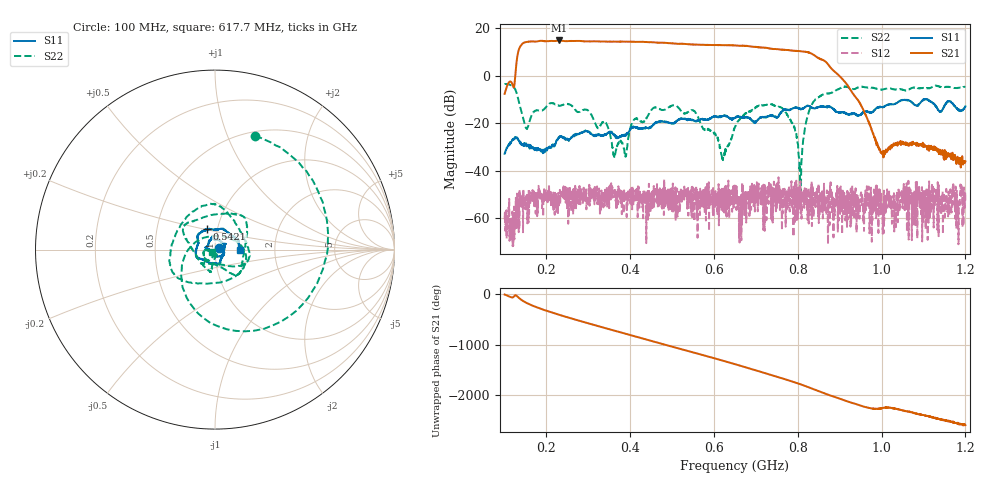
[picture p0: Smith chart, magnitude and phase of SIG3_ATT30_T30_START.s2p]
# Hz S DB R 50
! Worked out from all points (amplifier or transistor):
!   1601 points, 100 MHz to 1.2 GHz, reference 50 ohm
!   highest |S21| = 14.9 dB at 230.6 MHz (marker M1)
!   |S21| within 3 dB of that: 135.9 MHz to 716.1 MHz (580.2 MHz wide, 136 % of centre) (the widest 1 of 3)
!   unconditionally stable (mu >= 1): start of sweep to end of sweep
!   at 282.9 MHz: K = 24.56, MAG = 14.8 dB, |S12| = -48.8 dB
!   at 650 MHz: K = 32.79, MAG = 12.9 dB, |S12| = -49.3 dB
!   at 1.2 GHz: K = 8254.52, MAG = -33.9 dB, |S12| = -52.6 dB
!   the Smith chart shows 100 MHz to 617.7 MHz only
!   S11 on the Smith chart (normalised r, x): 100 MHz: 1.04, +0.02; 542.1 MHz: 0.90, +0.21; 617.7 MHz: 1.32, -0.01
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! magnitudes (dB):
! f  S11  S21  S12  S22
! 100 MHz  -32.8  -7.6  -60.5  -3.5
! 124.8 MHz  -26.3  -1.3  -57.8  -5.5
! 135.8 MHz  -27.4  11.9  -48.0  -12.2
! 152.2 MHz  -29.7  14.3  -52.2  -22.2
! 230.6 MHz  -25.6  14.9  -51.1  -12.6
! 283.6 MHz  -23.8  14.6  -47.8  -14.6
! 342 MHz  -25.0  14.5  -50.9  -19.8
! 362.6 MHz  -25.4  14.4  -51.0  -33.9
! 467.1 MHz  -19.3  14.0  -51.3  -13.6
! 542.1 MHz  -18.3  13.3  -51.5  -14.7
! 617.7 MHz  -17.2  12.9  -56.9  -33.1
! 650 MHz  -17.6  12.8  -49.3  -21.5
! 661 MHz  -17.2  12.7  -70.2  -18.4
! 694.7 MHz  -19.6  12.2  -54.9  -13.9
! 760.7 MHz  -15.6  11.0  -50.9  -13.4
! 792.3 MHz  -13.4  10.6  -61.6  -21.7
! 806.1 MHz  -13.8  10.4  -44.3  -53.7
! 833.6 MHz  -13.3  9.3  -63.3  -12.0
! 912.6 MHz  -15.4  -2.5  -58.1  -4.4
! 997.2 MHz  -13.2  -32.0  -48.7  -5.8
! 1.017 GHz  -12.1  -30.0  -52.8  -5.2
! 1.2 GHz  -12.9  -36.0  -52.6  -4.5
